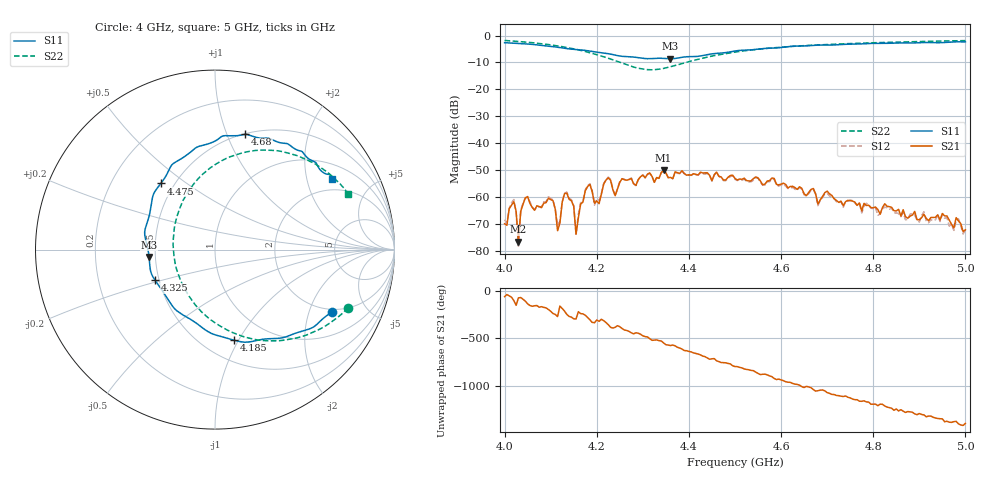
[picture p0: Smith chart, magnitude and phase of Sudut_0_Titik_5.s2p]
# Hz S RI R 50
! CMT, C1220, 16058040, 17.2.0/1
! Date: 15/08/2018 12:17:47
! Data: Format (Calibration Info)
! Freq  S11: Re/Im (F2)  S21: Re/Im (F2)  S12: Re/Im (F2)  S22: Re/Im (F2)
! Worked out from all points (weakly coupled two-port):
!   201 points, 4 GHz to 5 GHz, reference 50 ohm
!   highest |S21| = -50.07 dB at 4.345 GHz (marker M1); lowest = -76.5 dB at 4.03 GHz (marker M2)
!   lowest |S11| = -8.6 dB at 4.36 GHz (marker M3), VSWR 2.17, Z = 23.1 - j2.22 ohm
!   |S11| at or under -10 dB: nowhere
!   |S22| runs from -12.7 to -1.8 dB; largest |S21 - S12| = 0.00015
!   S11 on the Smith chart (normalised r, x): 4 GHz: 1.87, -2.85; 4.185 GHz: 0.70, -0.96; 4.325 GHz: 0.47, -0.19; 4.475 GHz: 0.42, +0.40; 4.68 GHz: 0.51, +1.16; 5 GHz: 1.51, +2.84
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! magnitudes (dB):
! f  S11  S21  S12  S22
! 4 GHz  -2.7  -69.9  -68.4  -1.8
! 4.02 GHz  -2.9  -61.7  -60.9  -2.1
! 4.03 GHz  -3.0  -76.5  -78.2  -2.2
! 4.045 GHz  -3.1  -60.3  -60.2  -2.4
! 4.105 GHz  -4.1  -61.3  -61.1  -3.6
! 4.115 GHz  -4.3  -72.5  -70.4  -3.9
! 4.135 GHz  -4.9  -58.5  -58.1  -4.5
! 4.155 GHz  -5.2  -73.8  -73.5  -5.1
! 4.17 GHz  -5.4  -61.9  -61.7  -5.7
! 4.185 GHz  -5.8  -55.3  -55.1  -6.4
! 4.195 GHz  -6.0  -62.2  -63.0  -6.9
! 4.225 GHz  -6.7  -52.8  -52.6  -8.4
! 4.325 GHz  -8.5  -54.5  -54.4  -12.7
! 4.335 GHz  -8.4  -53.0  -52.9  -12.5
! 4.345 GHz  -8.5  -50.1  -50.2  -12.2
! 4.36 GHz  -8.6  -52.7  -52.8  -11.6
! 4.475 GHz  -6.4  -53.7  -53.9  -6.8
! 4.5 GHz  -5.8  -53.1  -53.4  -6.1
! 4.67 GHz  -3.7  -56.8  -57.3  -3.6
! 4.68 GHz  -3.6  -62.6  -63.2  -3.5
! 4.835 GHz  -2.9  -63.5  -64.5  -2.5
! 5 GHz  -2.4  -72.1  -72.1  -1.9
